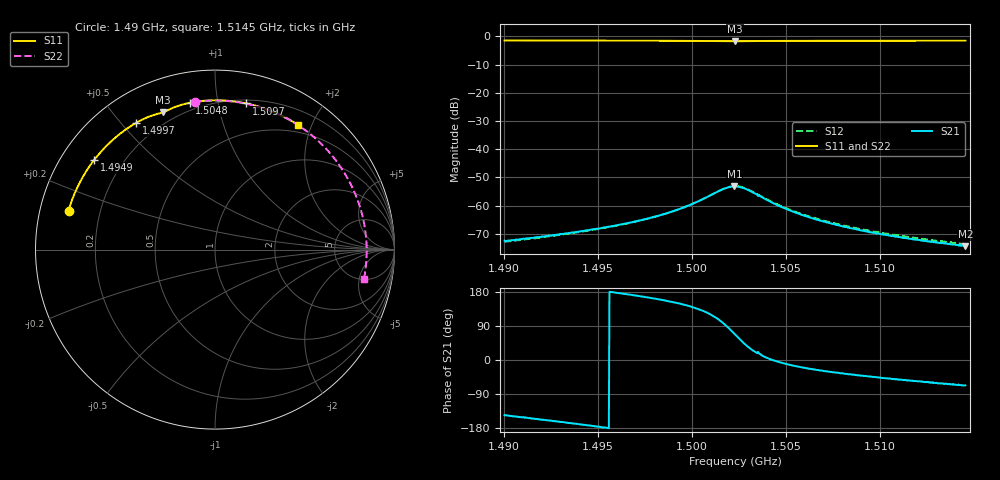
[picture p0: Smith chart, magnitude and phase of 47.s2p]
#  HZ  S  RI  R  50.00
! Rohde & Schwarz Vector Network Analyzer
! Rohde-Schwarz,ZNA26-4Port,1332450024101213,1.95
! Created: UTC 3/3/2023, 5:55:50 PM
! freq[Hz]  re:S11  im:S11  re:S21  im:S21  re:S12  im:S12  re:S22  im:S22
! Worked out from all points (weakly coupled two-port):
!   801 points, 1.49 GHz to 1.5145 GHz, reference 50 ohm
!   highest |S21| = -53.19 dB at 1.5023 GHz (marker M1); lowest = -74.4 dB at 1.5145 GHz (marker M2)
!   lowest |S11| = -1.7 dB at 1.5023 GHz (marker M3), VSWR 9.98, Z = 7.37 + j34 ohm
!   |S11| at or under -10 dB: nowhere
!   |S22| runs from -1.6 to -1.4 dB; largest |S21 - S12| = 0.0002
!   S11 on the Smith chart (normalised r, x): 1.49 GHz: 0.09, +0.13; 1.4949 GHz: 0.10, +0.33; 1.4997 GHz: 0.12, +0.55; 1.5048 GHz: 0.16, +0.83; 1.5097 GHz: 0.23, +1.21; 1.5145 GHz: 0.39, +1.81
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1.490038e9  -0.8159 0.2166  -0.000196 -0.000135  -0.000181 -0.00014  -0.1139 0.8226
1.49209e9  -0.7688 0.3426  -0.000263 -0.000105  -0.000248 -0.000119  0.0189 0.8303
1.494142e9  -0.7024 0.4592  -0.000347 -6.08e-05  -0.000339 -7.91e-05  0.151 0.8172
1.494908e9  -0.673 0.4998  -0.000386 -2.99e-05  -0.000376 -5.62e-05  0.1996 0.8069
1.496623e9  -0.5987 0.5839  -0.00049 5.99e-05  -0.000486 2.43e-05  0.3055 0.7739
1.498215e9  -0.5199 0.6523  -0.000621 0.000221  -0.000632 0.000177  0.3992 0.731
1.499073e9  -0.4738 0.6848  -0.000713 0.000384  -0.000741 0.000325  0.4473 0.7033
1.499716e9  -0.4376 0.7069  -0.000788 0.000571  -0.000834 0.000523  0.4822 0.6804
1.50042e9  -0.3963 0.7284  -0.000837 0.000897  -0.000907 0.000836  0.5189 0.6533
1.501676e9  -0.321 0.7558  -0.000232 0.00196  -0.000397 0.00195  0.5806 0.6003
1.501982e9  -0.3043 0.7602  0.000262 0.00211  6.53e-05 0.00215  0.5949 0.5865
1.502258e9  -0.2905 0.7646  0.000782 0.00204  0.000613 0.00213  0.6074 0.5739
1.502288e9  -0.2891 0.7651  0.000843 0.00202  0.000669 0.00212  0.6087 0.5725
1.502594e9  -0.2743 0.7714  0.0013 0.00167  0.00118 0.00181  0.6223 0.5581
1.502931e9  -0.2572 0.7796  0.00154 0.00116  0.00147 0.0013  0.6369 0.5419
1.50483e9  -0.1406 0.8178  0.000916 -0.000135  0.000951 -6.66e-05  0.7109 0.4436
1.506392e9  -0.0386 0.8307  0.000545 -0.000244  0.000578 -0.000217  0.7609 0.3553
1.507984e9  0.0655 0.8297  0.000353 -0.000249  0.000384 -0.000232  0.8008 0.2596
1.509669e9  0.1741 0.8144  0.000235 -0.000231  0.000259 -0.000227  0.8294 0.1535
1.510465e9  0.2245 0.8023  0.000194 -0.000222  0.000218 -0.000225  0.8379 0.1022
1.512364e9  0.3407 0.761  0.000127 -0.000201  0.000144 -0.00021  0.8451 -0.0216
1.514538e9  0.4645 0.6936  7.52e-05 -0.000176  8.58e-05 -0.000189  0.8306 -0.163
